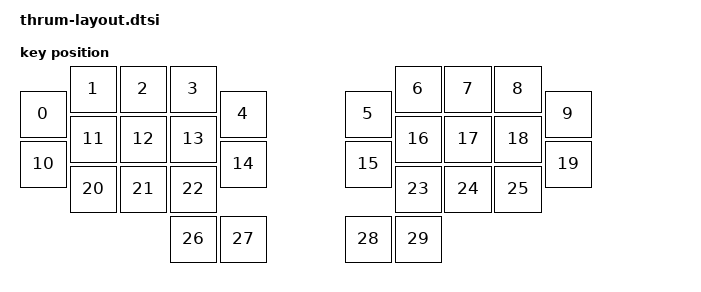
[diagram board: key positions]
#include <physical_layouts.dtsi>

/ {
    physical_layout0: physical_layout_0 {
        compatible = "zmk,physical-layout";
        display-name = "Default";

        kscan = <&kscan0>;
        transform = <&matrix_transform0>;

        keys  //                     w   h    x    y     rot    rx    ry
            = <&key_physical_attrs 100 100    0   50       0     0     0>
            , <&key_physical_attrs 100 100  100    0       0     0     0>
            , <&key_physical_attrs 100 100  200    0       0     0     0>
            , <&key_physical_attrs 100 100  300    0       0     0     0>
            , <&key_physical_attrs 100 100  400   50       0     0     0>
            , <&key_physical_attrs 100 100  650   50       0     0     0>
            , <&key_physical_attrs 100 100  750    0       0     0     0>
            , <&key_physical_attrs 100 100  850    0       0     0     0>
            , <&key_physical_attrs 100 100  950    0       0     0     0>
            , <&key_physical_attrs 100 100 1050   50       0     0     0>
            , <&key_physical_attrs 100 100    0  150       0     0     0>
            , <&key_physical_attrs 100 100  100  100       0     0     0>
            , <&key_physical_attrs 100 100  200  100       0     0     0>
            , <&key_physical_attrs 100 100  300  100       0     0     0>
            , <&key_physical_attrs 100 100  400  150       0     0     0>
            , <&key_physical_attrs 100 100  650  150       0     0     0>
            , <&key_physical_attrs 100 100  750  100       0     0     0>
            , <&key_physical_attrs 100 100  850  100       0     0     0>
            , <&key_physical_attrs 100 100  950  100       0     0     0>
            , <&key_physical_attrs 100 100 1050  150       0     0     0>
            , <&key_physical_attrs 100 100  100  200       0     0     0>
            , <&key_physical_attrs 100 100  200  200       0     0     0>
            , <&key_physical_attrs 100 100  300  200       0     0     0>
            , <&key_physical_attrs 100 100  750  200       0     0     0>
            , <&key_physical_attrs 100 100  850  200       0     0     0>
            , <&key_physical_attrs 100 100  950  200       0     0     0>
            , <&key_physical_attrs 100 100  300  300       0     0     0>
            , <&key_physical_attrs 100 100  400  300       0     0     0>
            , <&key_physical_attrs 100 100  650  300       0     0     0>
            , <&key_physical_attrs 100 100  750  300       0     0     0>
            ;
    };
};
